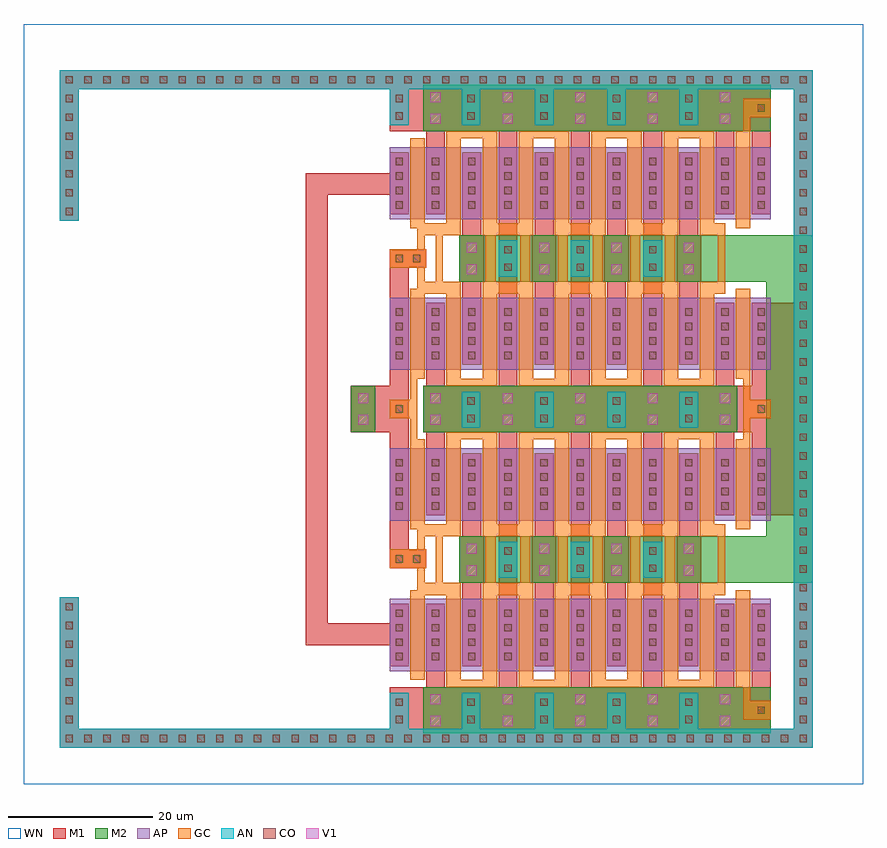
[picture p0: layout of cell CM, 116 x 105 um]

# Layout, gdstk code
import gdstk
lib = gdstk.Library(unit=1e-6, precision=1e-09)
def R(c, l, rs):  # rectangles x0, y0, x1, y1
    for r in rs: c.add(gdstk.rectangle(r[:2], r[2:], *l))
def A(c, l, x, y, w, h, nx, ny, dx, dy):  # array of equal rectangles
    R(c, l, [(x+i*dx, y+j*dy, x+i*dx+w, y+j*dy+h) for i in range(nx) for j in range(ny)])
AP = (3, 1)
AN = (3, 2)
GC = (8, 1)
CO = (11, 0)
M1 = (13, 0)
V1 = (19, 0)
M2 = (20, 0)
WN = (140, 0)

cont_n_1 = lib.new_cell('cont_n$1')
R(cont_n_1, AN, [(-1.3,-1.3,1.3,1.3)])
R(cont_n_1, CO, [(-0.5,-0.5,0.5,0.5)])
R(cont_n_1, M1, [(-1.3,-1.3,1.3,1.3)])

cont_g = lib.new_cell('cont_g')
R(cont_g, GC, [(-1.3,-1.3,1.3,1.3)])
R(cont_g, CO, [(-0.5,-0.5,0.5,0.5)])
R(cont_g, M1, [(-1.3,-1.3,1.3,1.3)])

via_1 = lib.new_cell('via_1')
R(via_1, M1, [(-1.7,-1.7,1.7,1.7)])
R(via_1, V1, [(-0.7,-0.7,0.7,0.7)])
R(via_1, M2, [(-1.7,-1.7,1.7,1.7)])

fet_p_2 = lib.new_cell('fet_p$2')
R(fet_p_2, AP, [(-3.8,-5,3.8,5)])
A(fet_p_2, CO, -3, -3.5, 1, 1, 1, 4, 0, 2)
A(fet_p_2, CO, 2, -3.5, 1, 1, 1, 4, 0, 2)
R(fet_p_2, M1, [(-3.8,-4.3,-1.2,4.3), (1.2,-4.3,3.8,4.3)])
fet_p_2.add(gdstk.FlexPath([(0,-6.2),(0,6.2)], 2, ends="flush", simple_path=True, layer=8, datatype=1))  # GC

fet_p = lib.new_cell('fet_p')
R(fet_p, AP, [(-21.3,-5,21.3,5)])
A(fet_p, CO, -20.5, -3.5, 1, 1, 9, 4, 5, 2)
A(fet_p, M1, -21.3, -4.3, 2.6, 8.6, 9, 1, 5, 0)
fet_p.add(gdstk.FlexPath([(2.5,-6.2),(2.5,6.2)], 2, ends="flush", simple_path=True, layer=8, datatype=1))  # GC
fet_p.add(gdstk.FlexPath([(-2.5,-6.2),(-2.5,6.2)], 2, ends="flush", simple_path=True, layer=8, datatype=1))  # GC
fet_p.add(gdstk.FlexPath([(7.5,-6.2),(7.5,6.2)], 2, ends="flush", simple_path=True, layer=8, datatype=1))  # GC
fet_p.add(gdstk.FlexPath([(-7.5,-6.2),(-7.5,6.2)], 2, ends="flush", simple_path=True, layer=8, datatype=1))  # GC
fet_p.add(gdstk.FlexPath([(12.5,-6.2),(12.5,6.2)], 2, ends="flush", simple_path=True, layer=8, datatype=1))  # GC
fet_p.add(gdstk.FlexPath([(-12.5,-6.2),(-12.5,6.2)], 2, ends="flush", simple_path=True, layer=8, datatype=1))  # GC
fet_p.add(gdstk.FlexPath([(17.5,-6.2),(17.5,6.2)], 2, ends="flush", simple_path=True, layer=8, datatype=1))  # GC
fet_p.add(gdstk.FlexPath([(-17.5,-6.2),(-17.5,6.2)], 2, ends="flush", simple_path=True, layer=8, datatype=1))  # GC

via_1_1 = lib.new_cell('via_1$1')
R(via_1_1, M1, [(-1.7,-1.7,1.7,1.7)])
R(via_1_1, V1, [(-0.7,-0.7,0.7,0.7)])
R(via_1_1, M2, [(-1.7,-1.7,1.7,1.7)])

cont_n = lib.new_cell('cont_n')
R(cont_n, AN, [(-1.3,-1.3,1.3,1.3)])
R(cont_n, CO, [(-0.5,-0.5,0.5,0.5)])
R(cont_n, M1, [(-1.3,-1.3,1.3,1.3)])

pmos160um = lib.new_cell('PMOS160um')
A(pmos160um, GC, -38.5, -17.6, 7, 1, 4, 2, 10, 34.2)
A(pmos160um, GC, -33.5, -4.9, 7, 1.7, 3, 2, 10, 8.1)
R(pmos160um, GC, [(-40,-4.9,-36.5,-3.2), (-3.5,-4.9,0,-3.2), (-40,3.2,-36.5,4.9), (-3.5,3.2,0,4.9)])
pmos160um.add(gdstk.FlexPath([(-0.5,-3.2),(-0.5,3.2)], 1, ends="flush", simple_path=True, layer=8, datatype=1))  # GC
pmos160um.add(gdstk.FlexPath([(-39.5,-3.2),(-39.5,3.2)], 1, ends="flush", simple_path=True, layer=8, datatype=1))  # GC
pmos160um.add(gdstk.FlexPath([(-12.4,-3.2),(-12.4,3.2),(-12.4,3.2)], 1.4, ends="flush", simple_path=True, layer=8, datatype=1))  # GC
pmos160um.add(gdstk.FlexPath([(-7.6,-3.2),(-7.6,3.2),(-7.6,3.2)], 1.4, ends="flush", simple_path=True, layer=8, datatype=1))  # GC
pmos160um.add(gdstk.FlexPath([(-22.4,-3.2),(-22.4,3.2),(-22.4,3.2)], 1.4, ends="flush", simple_path=True, layer=8, datatype=1))  # GC
pmos160um.add(gdstk.FlexPath([(-17.6,-3.2),(-17.6,3.2),(-17.6,3.2)], 1.4, ends="flush", simple_path=True, layer=8, datatype=1))  # GC
pmos160um.add(gdstk.FlexPath([(-32.4,-3.2),(-32.4,3.2),(-32.4,3.2)], 1.4, ends="flush", simple_path=True, layer=8, datatype=1))  # GC
pmos160um.add(gdstk.FlexPath([(-27.6,-3.2),(-27.6,3.2),(-27.6,3.2)], 1.4, ends="flush", simple_path=True, layer=8, datatype=1))  # GC
pmos160um.add(gdstk.FlexPath([(-45,-17.6),(-45,-14.7)], 2.6, ends="flush", simple_path=True, layer=13, datatype=0))  # M1
pmos160um.add(gdstk.FlexPath([(0,-17.6),(0,-14.7)], 2.6, ends="flush", simple_path=True, layer=13, datatype=0))  # M1
pmos160um.add(gdstk.FlexPath([(5,-17.6),(5,-14.7)], 2.6, ends="flush", simple_path=True, layer=13, datatype=0))  # M1
pmos160um.add(gdstk.FlexPath([(0,18.5),(0,14.7)], 2.6, ends="flush", simple_path=True, layer=13, datatype=0))  # M1
pmos160um.add(gdstk.FlexPath([(5,14.7),(5,18.5)], 2.6, ends="flush", simple_path=True, layer=13, datatype=0))  # M1
pmos160um.add(gdstk.FlexPath([(-10,-17.6),(-10,-14.7)], 2.6, ends="flush", simple_path=True, layer=13, datatype=0))  # M1
pmos160um.add(gdstk.FlexPath([(-30,-17.6),(-30,-14.7)], 2.6, ends="flush", simple_path=True, layer=13, datatype=0))  # M1
pmos160um.add(gdstk.FlexPath([(-20,-17.6),(-20,-14.7)], 2.6, ends="flush", simple_path=True, layer=13, datatype=0))  # M1
pmos160um.add(gdstk.FlexPath([(-40,-17.6),(-40,-14.7)], 2.6, ends="flush", simple_path=True, layer=13, datatype=0))  # M1
pmos160um.add(gdstk.FlexPath([(0,-17.6),(0,-14.7)], 2.6, ends="flush", simple_path=True, layer=13, datatype=0))  # M1
pmos160um.add(gdstk.FlexPath([(-10,-6.1),(-10,-2.5),(-10,-2.5)], 2.6, ends="flush", simple_path=True, layer=13, datatype=0))  # M1
pmos160um.add(gdstk.FlexPath([(-10,2.5),(-10,6.1)], 2.6, ends="flush", simple_path=True, layer=13, datatype=0))  # M1
pmos160um.add(gdstk.FlexPath([(-20,-6.1),(-20,-2.5),(-20,-2.5)], 2.6, ends="flush", simple_path=True, layer=13, datatype=0))  # M1
pmos160um.add(gdstk.FlexPath([(-20,2.5),(-20,6.1)], 2.6, ends="flush", simple_path=True, layer=13, datatype=0))  # M1
pmos160um.add(gdstk.FlexPath([(-30,-6.1),(-30,-2.5),(-30,-2.5)], 2.6, ends="flush", simple_path=True, layer=13, datatype=0))  # M1
pmos160um.add(gdstk.FlexPath([(-30,2.5),(-30,6.1)], 2.6, ends="flush", simple_path=True, layer=13, datatype=0))  # M1
pmos160um.add(gdstk.FlexPath([(-40,18.5),(-40,14.7)], 2.6, ends="flush", simple_path=True, layer=13, datatype=0))  # M1
pmos160um.add(gdstk.FlexPath([(-30,14.7),(-30,18.5)], 2.6, ends="flush", simple_path=True, layer=13, datatype=0))  # M1
pmos160um.add(gdstk.FlexPath([(-20,18.5),(-20,14.7)], 2.6, ends="flush", simple_path=True, layer=13, datatype=0))  # M1
pmos160um.add(gdstk.FlexPath([(-10,18.5),(-10,14.7)], 2.6, ends="flush", simple_path=True, layer=13, datatype=0))  # M1
pmos160um.add(gdstk.FlexPath([(0,14.7),(0,18.5)], 2.6, ends="flush", simple_path=True, layer=13, datatype=0))  # M1
pmos160um.add(gdstk.FlexPath([(-5,-6.1),(-5,-3.2)], 2.6, ends="flush", simple_path=True, layer=13, datatype=0))  # M1
pmos160um.add(gdstk.FlexPath([(-5,3.2),(-5,6.1)], 2.6, ends="flush", simple_path=True, layer=13, datatype=0))  # M1
pmos160um.add(gdstk.FlexPath([(-15,-6.1),(-15,-3.2)], 2.6, ends="flush", simple_path=True, layer=13, datatype=0))  # M1
pmos160um.add(gdstk.FlexPath([(-15,3.2),(-15,6.1)], 2.6, ends="flush", simple_path=True, layer=13, datatype=0))  # M1
pmos160um.add(gdstk.FlexPath([(-25,3.2),(-25,6.1)], 2.6, ends="flush", simple_path=True, layer=13, datatype=0))  # M1
pmos160um.add(gdstk.FlexPath([(-25,-6.1),(-25,-3.2)], 2.6, ends="flush", simple_path=True, layer=13, datatype=0))  # M1
pmos160um.add(gdstk.FlexPath([(-35,-6.1),(-35,-3.2)], 2.6, ends="flush", simple_path=True, layer=13, datatype=0))  # M1
pmos160um.add(gdstk.FlexPath([(-35,3.2),(-35,6.1)], 2.6, ends="flush", simple_path=True, layer=13, datatype=0))  # M1
pmos160um.add(gdstk.FlexPath([(-3.3,0),(-36.7,0)], 6.4, ends="flush", simple_path=True, layer=20, datatype=0))  # M2
pmos160um.add(gdstk.Reference(fet_p_2, (-42.5,10.4)))
pmos160um.add(gdstk.Reference(fet_p_2, (2.5,10.4)))
pmos160um.add(gdstk.Reference(fet_p, (-20,10.4)))
pmos160um.add(gdstk.Reference(fet_p_2, (-42.5,-10.4), x_reflection=True))
pmos160um.add(gdstk.Reference(fet_p_2, (2.5,-10.4), x_reflection=True))
r = gdstk.Reference(via_1_1, (-35,1.5), x_reflection=True); r.repetition = gdstk.Repetition(4, 2, v1=(10,0), v2=(0,-3)); pmos160um.add(r)
pmos160um.add(gdstk.Reference(fet_p, (-20,-10.4), x_reflection=True))
r = gdstk.Reference(cont_n, (-10,-1.2)); r.repetition = gdstk.Repetition(1, 2, v1=(0,0), v2=(0,2.4)); pmos160um.add(r)
r = gdstk.Reference(cont_n, (-20,-1.2)); r.repetition = gdstk.Repetition(1, 2, v1=(0,0), v2=(0,2.4)); pmos160um.add(r)
r = gdstk.Reference(cont_n, (-30,-1.2)); r.repetition = gdstk.Repetition(1, 2, v1=(0,0), v2=(0,2.4)); pmos160um.add(r)

c_cm = lib.new_cell('CM')
A(c_cm, GC, 100.4, 8.9, 0.2, 2.6, 1, 3, 0, 41.6)
R(c_cm, GC, [(99.4,8.9,100.4,14.4), (98.4,13.4,99.4,14.4), (55.4,26.1,56.9,27.8), (55.4,34.2,56.9,35.9), (53.4,47.6,54.4,56), (99.4,47.6,100.4,56), (51.2,50.5,51.4,53.1), (53.2,50.5,53.4,53.1), (55.4,67.7,56.9,69.4), (55.4,75.8,56.9,77.5), (98.4,89.2,99.4,90.2), (99.4,89.2,100.4,94.7)])
A(c_cm, M1, 98.6, 7, 4.6, 6.4, 1, 3, 0, 41.6)
R(c_cm, M1, [(103.2,37.1,106.4,66.5), (48.6,48.6,53.2,55)])
R(c_cm, WN, [(0,0,116,105)])
c_cm.add(gdstk.FlexPath([(54.9,26.8),(54.9,35.2),(54.9,35.2)], 1, ends="flush", simple_path=True, layer=8, datatype=1))  # GC
c_cm.add(gdstk.FlexPath([(54.9,68.4),(54.9,76.8)], 1, ends="flush", simple_path=True, layer=8, datatype=1))  # GC
c_cm.add(gdstk.FlexPath([(55.2,51.8),(103.2,51.8)], 6.4, ends="flush", simple_path=True, layer=13, datatype=0))  # M1
c_cm.add(gdstk.FlexPath([(50.6,93.4),(103.2,93.4)], 6.4, ends="flush", simple_path=True, layer=13, datatype=0))  # M1
c_cm.add(gdstk.FlexPath([(50.6,10.2),(103.2,10.2)], 6.4, ends="flush", simple_path=True, layer=13, datatype=0))  # M1
c_cm.add(gdstk.FlexPath([(51.9,37.1),(51.9,32.4)], 2.6, ends="flush", simple_path=True, layer=13, datatype=0))  # M1
c_cm.add(gdstk.FlexPath([(51.9,66.5),(51.9,71.3)], 2.6, ends="flush", simple_path=True, layer=13, datatype=0))  # M1
c_cm.add(gdstk.FlexPath([(50.6,20.7),(40.5,20.7),(40.5,51.8)], 3, ends="flush", simple_path=True, layer=13, datatype=0))  # M1
c_cm.add(gdstk.FlexPath([(50.6,82.9),(40.5,82.9),(40.5,51.8)], 3, ends="flush", simple_path=True, layer=13, datatype=0))  # M1
c_cm.add(gdstk.FlexPath([(55.2,51.8),(98.6,51.8)], 6.4, ends="flush", simple_path=True, layer=20, datatype=0))  # M2
c_cm.add(gdstk.FlexPath([(55.2,10.2),(103.2,10.2)], 6.4, ends="flush", simple_path=True, layer=20, datatype=0))  # M2
c_cm.add(gdstk.FlexPath([(55.2,93.4),(103.2,93.4)], 6.4, ends="flush", simple_path=True, layer=20, datatype=0))  # M2
c_cm.add(gdstk.FlexPath([(105.8,27.8),(105.8,75.8)], 6.4, ends="flush", simple_path=True, layer=20, datatype=0))  # M2
c_cm.add(gdstk.FlexPath([(93.6,31),(109,31)], 6.4, ends="flush", simple_path=True, layer=20, datatype=0))  # M2
c_cm.add(gdstk.FlexPath([(93.6,72.6),(109,72.6)], 6.4, ends="flush", simple_path=True, layer=20, datatype=0))  # M2
r = gdstk.Reference(cont_n_1, (6.3,97.3), x_reflection=True); r.repetition = gdstk.Repetition(1, 8, v1=(0,0), v2=(0,-2.6)); c_cm.add(r)
r = gdstk.Reference(cont_n_1, (107.7,6.3)); r.repetition = gdstk.Repetition(1, 36, v1=(0,0), v2=(0,2.6)); c_cm.add(r)
r = gdstk.Reference(cont_n_1, (6.3,6.3)); r.repetition = gdstk.Repetition(40, 1, v1=(2.6,0), v2=(0,0)); c_cm.add(r)
r = gdstk.Reference(cont_n_1, (6.3,97.3)); r.repetition = gdstk.Repetition(40, 1, v1=(2.6,0), v2=(0,0)); c_cm.add(r)
r = gdstk.Reference(cont_n_1, (6.3,6.3)); r.repetition = gdstk.Repetition(1, 8, v1=(0,0), v2=(0,2.6)); c_cm.add(r)
c_cm.add(gdstk.Reference(cont_g, (101.9,10.2)))
r = gdstk.Reference(cont_g, (51.9,72.6)); r.repetition = gdstk.Repetition(2, 1, v1=(2.4,0), v2=(0,0)); c_cm.add(r)
r = gdstk.Reference(via_1, (46.9,50.3)); r.repetition = gdstk.Repetition(1, 2, v1=(0,0), v2=(0,3)); c_cm.add(r)
r = gdstk.Reference(cont_n_1, (91.9,8.9)); r.repetition = gdstk.Repetition(1, 2, v1=(0,0), v2=(0,2.4)); c_cm.add(r)
r = gdstk.Reference(cont_n_1, (81.9,8.9)); r.repetition = gdstk.Repetition(1, 2, v1=(0,0), v2=(0,2.4)); c_cm.add(r)
r = gdstk.Reference(cont_n_1, (71.9,8.9)); r.repetition = gdstk.Repetition(1, 2, v1=(0,0), v2=(0,2.4)); c_cm.add(r)
r = gdstk.Reference(cont_n_1, (61.8,8.9)); r.repetition = gdstk.Repetition(1, 2, v1=(0,0), v2=(0,2.4)); c_cm.add(r)
r = gdstk.Reference(cont_n_1, (51.9,8.9)); r.repetition = gdstk.Repetition(1, 2, v1=(0,0), v2=(0,2.4)); c_cm.add(r)
r = gdstk.Reference(via_1, (46.9,50.3)); r.repetition = gdstk.Repetition(1, 2, v1=(0,0), v2=(0,3)); c_cm.add(r)
r = gdstk.Reference(via_1, (56.9,11.7), x_reflection=True); r.repetition = gdstk.Repetition(5, 2, v1=(10,0), v2=(0,-3)); c_cm.add(r)
c_cm.add(gdstk.Reference(cont_g, (101.9,93.4), x_reflection=True))
c_cm.add(gdstk.Reference(cont_g, (101.9,51.8)))
r = gdstk.Reference(cont_n_1, (91.9,92.3)); r.repetition = gdstk.Repetition(1, 2, v1=(0,0), v2=(0,2.4)); c_cm.add(r)
r = gdstk.Reference(cont_n_1, (81.9,92.3)); r.repetition = gdstk.Repetition(1, 2, v1=(0,0), v2=(0,2.4)); c_cm.add(r)
r = gdstk.Reference(cont_n_1, (71.9,92.3)); r.repetition = gdstk.Repetition(1, 2, v1=(0,0), v2=(0,2.4)); c_cm.add(r)
r = gdstk.Reference(cont_n_1, (61.8,92.3)); r.repetition = gdstk.Repetition(1, 2, v1=(0,0), v2=(0,2.4)); c_cm.add(r)
r = gdstk.Reference(cont_n_1, (51.9,92.3)); r.repetition = gdstk.Repetition(1, 2, v1=(0,0), v2=(0,2.4)); c_cm.add(r)
r = gdstk.Reference(via_1, (56.9,94.9), x_reflection=True); r.repetition = gdstk.Repetition(5, 2, v1=(10,0), v2=(0,-3)); c_cm.add(r)
r = gdstk.Reference(cont_n_1, (91.9,50.5)); r.repetition = gdstk.Repetition(1, 2, v1=(0,0), v2=(0,2.4)); c_cm.add(r)
r = gdstk.Reference(cont_n_1, (81.9,50.5)); r.repetition = gdstk.Repetition(1, 2, v1=(0,0), v2=(0,2.4)); c_cm.add(r)
r = gdstk.Reference(cont_n_1, (71.9,50.5)); r.repetition = gdstk.Repetition(1, 2, v1=(0,0), v2=(0,2.4)); c_cm.add(r)
r = gdstk.Reference(cont_n_1, (61.8,50.5)); r.repetition = gdstk.Repetition(1, 2, v1=(0,0), v2=(0,2.4)); c_cm.add(r)
r = gdstk.Reference(cont_g, (51.9,31.1)); r.repetition = gdstk.Repetition(2, 1, v1=(2.4,0), v2=(0,0)); c_cm.add(r)
c_cm.add(gdstk.Reference(cont_g, (51.9,51.8)))
c_cm.add(gdstk.Reference(pmos160um, (96.9,31), x_reflection=True))
c_cm.add(gdstk.Reference(pmos160um, (96.9,72.6)))
r = gdstk.Reference(via_1, (56.9,53.3), x_reflection=True); r.repetition = gdstk.Repetition(5, 2, v1=(10,0), v2=(0,-3)); c_cm.add(r)

lib.write_gds('CM.gds')
